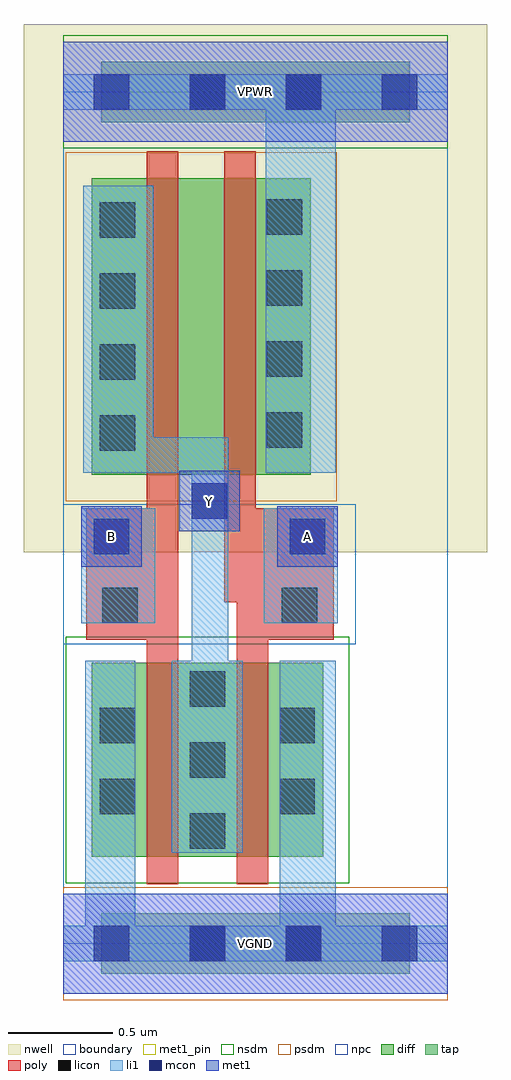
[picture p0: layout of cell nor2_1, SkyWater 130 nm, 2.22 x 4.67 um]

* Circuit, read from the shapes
.subckt nor2_1 A B VGND VPWR Y
XM1 Y B VGND VGND sky130_fd_pr__nfet_01v8 w=0.93 l=0.15
XM2 VGND A Y VGND sky130_fd_pr__nfet_01v8 w=0.93 l=0.15
XM3 n1 B Y VPWR sky130_fd_pr__pfet_01v8 w=1.42 l=0.15
XM4 VPWR A n1 VPWR sky130_fd_pr__pfet_01v8 w=1.42 l=0.15
.ends

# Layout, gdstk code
import gdstk
lib = gdstk.Library(unit=1e-6, precision=1e-09)
def R(c, l, rs):  # rectangles x0, y0, x1, y1
    for r in rs: c.add(gdstk.rectangle(r[:2], r[2:], *l))
def A(c, l, x, y, w, h, nx, ny, dx, dy):  # array of equal rectangles
    R(c, l, [(x+i*dx, y+j*dy, x+i*dx+w, y+j*dy+h) for i in range(nx) for j in range(ny)])
nwell = (64, 20)
diff = (65, 20)
tap = (65, 44)
poly = (66, 20)
licon = (66, 44)
li1 = (67, 20)
mcon = (67, 44)
met1_pin = (68, 16)
met1 = (68, 20)
nsdm = (93, 44)
psdm = (94, 20)
npc = (95, 20)
boundary = (235, 4)

nor2_1 = lib.new_cell('nor2_1')
R(nor2_1, nwell, [(-0.19,1.875,2.03,4.405), (0,1.875,1.84,4.405)])
R(nor2_1, diff, [(0.135,0.415,1.245,1.345), (0.135,2.245,1.185,3.665)])
R(nor2_1, tap, [(0.18,-0.145,1.66,0.145), (0.18,3.935,1.66,4.225)])
R(nor2_1, poly, [(0.4,0.285,0.55,3.795), (0.83,0.285,0.98,2.085), (0.11,1.455,0.55,2.085), (0.83,1.455,1.295,2.085), (0.77,1.635,0.92,3.795)])
A(nor2_1, licon, 0.605, 0.455, 0.17, 0.17, 1, 3, 0, 0.34)
A(nor2_1, licon, 0.175, 2.36, 0.17, 0.17, 1, 4, 0, 0.34)
A(nor2_1, licon, 0.975, 2.375, 0.17, 0.17, 1, 4, 0, 0.34)
R(nor2_1, licon, [(0.605,-0.085,0.775,0.085), (1.065,-0.085,1.235,0.085), (0.175,0.62,0.345,0.79), (1.035,0.62,1.205,0.79), (0.175,0.96,0.345,1.13), (1.035,0.96,1.205,1.13), (0.185,1.535,0.355,1.705), (1.045,1.535,1.215,1.705), (0.605,3.995,0.775,4.165), (1.065,3.995,1.235,4.165)])
R(nor2_1, li1, [(0,-0.085,1.84,0.085), (0.105,-0.085,0.345,1.355), (1.035,-0.085,1.305,1.355), (0.52,0.435,0.86,1.355), (0.615,0.435,0.79,2.425), (0.085,1.535,0.44,2.085), (0.96,1.535,1.315,2.085), (0.095,2.255,0.43,3.63), (0.095,2.255,0.79,2.425), (0.97,2.255,1.305,4.165), (0,3.995,1.84,4.165)])
A(nor2_1, mcon, 0.145, -0.085, 0.17, 0.17, 4, 2, 0.46, 4.08)
R(nor2_1, mcon, [(0.145,1.865,0.315,2.035), (1.085,1.865,1.255,2.035), (0.615,2.035,0.785,2.205)])
R(nor2_1, met1_pin, [(0,-0.24,1.84,0.24), (0.085,1.805,0.375,2.095), (1.025,1.805,1.315,2.095), (0.555,1.975,0.845,2.265), (0,3.84,1.84,4.32)])
R(nor2_1, met1, [(0,-0.24,1.84,0.24), (0.085,1.805,0.375,2.095), (1.025,1.805,1.315,2.095), (0.555,1.975,0.845,2.265), (0,3.84,1.84,4.32)])
R(nor2_1, nsdm, [(0.01,0.29,1.37,1.47), (0,3.81,1.84,4.35)])
R(nor2_1, psdm, [(0,-0.27,1.84,0.27), (0.01,2.12,1.31,3.79)])
R(nor2_1, npc, [(0,1.435,1.4,2.105)])
R(nor2_1, boundary, [(0,0,1.84,4.08)])
nor2_1.add(gdstk.Label('A', (1.17,1.95), layer=68, texttype=5))
nor2_1.add(gdstk.Label('B', (0.23,1.95), layer=68, texttype=5))
nor2_1.add(gdstk.Label('Y', (0.7,2.12), layer=68, texttype=5))
nor2_1.add(gdstk.Label('VPWR', (0.92,4.08), layer=68, texttype=5))
nor2_1.add(gdstk.Label('VGND', (0.92,0), layer=68, texttype=5))
nor2_1.add(gdstk.Label('A', (1.17,1.95), layer=68, texttype=16))
nor2_1.add(gdstk.Label('B', (0.23,1.95), layer=68, texttype=16))
nor2_1.add(gdstk.Label('Y', (0.7,2.12), layer=68, texttype=16))
nor2_1.add(gdstk.Label('VPWR', (0.92,4.08), layer=68, texttype=16))
nor2_1.add(gdstk.Label('VGND', (0.92,0), layer=68, texttype=16))

lib.write_gds('nor2_1.gds')
